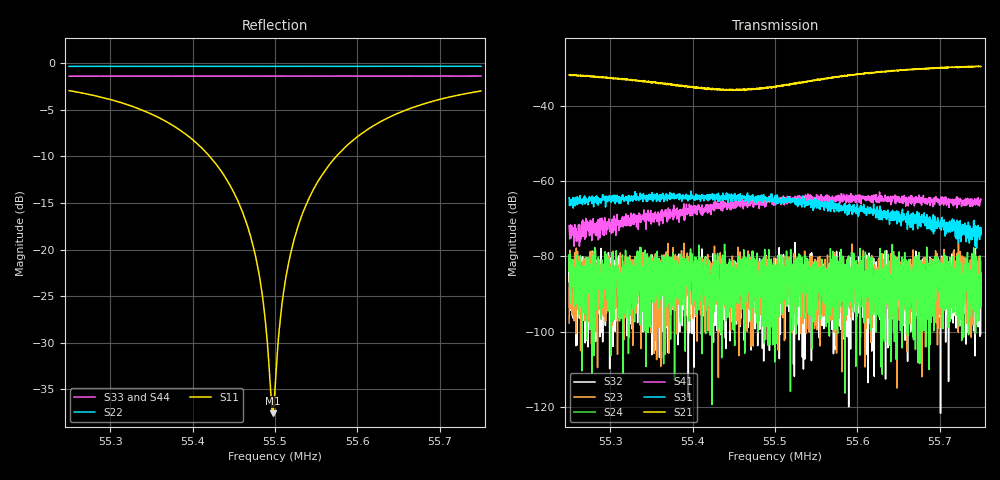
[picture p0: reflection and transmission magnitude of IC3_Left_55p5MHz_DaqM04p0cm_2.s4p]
#  HZ  S  DB  R  50.00
! Rohde & Schwarz Vector Network Analyzer
! Rohde-Schwarz,ZNB8-4Port,1311601044102961,2.82
! Created: UTC 2/13/2019, 9:14:09 AM
! freq[Hz]  db:S11  ang:S11  db:S12  ang:S12  db:S13  ang:S13  db:S14  ang:S14
!  db:S21  ang:S21  db:S22  ang:S22  db:S23  ang:S23  db:S24  ang:S24
!  db:S31  ang:S31  db:S32  ang:S32  db:S33  ang:S33  db:S34  ang:S34
!  db:S41  ang:S41  db:S42  ang:S42  db:S43  ang:S43  db:S44  ang:S44
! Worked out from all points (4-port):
!   2001 points, 55.25 MHz to 55.75 MHz, reference 50 ohm
!   strongest paths, dB at 55.25 MHz, 55.375 MHz, 55.5 MHz, 55.625 MHz, 55.75 MHz:
!     S21: -31.8, -34.6, -35.0, -31.2, -29.6
!     S31: -64.5, -63.5, -64.7, -68.0, -74.4
!     S41: -71.9, -69.2, -66.3, -64.9, -65.0
!     S24: -79.6, -93.2, -94.0, -83.7, -86.6
!     S23: -97.7, -81.7, -88.7, -85.5, -87.3
!     S32: -86.7, -92.9, -86.9, -85.5, -84.5
!   lowest |S11| = -37.6 dB at 55.497 MHz (marker M1), VSWR 1.03, Z = 50.6 + j1.2 ohm
!   |S11| at or under -10 dB: 55.42065 MHz to 55.57445 MHz (153.8 kHz wide, 0.277 % of centre)
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5.525e7  -2.94 -149.0  -31.68 69.4  -64.91 -160.3  -73.10 -5.9
         -31.82 69.2  -0.34 94.1  -97.73 -176.3  -79.64 112.5
         -64.46 -161.3  -86.73 -172.2  -1.39 34.9  -85.57 123.6
         -71.88 -6.4  -80.78 110.0  -90.80 12.5  -1.38 28.5
5.54375e7  -11.96 163.7  -35.63 81.5  -63.93 166.1  -65.79 -40.9
           -35.79 81.1  -0.33 90.7  -80.84 -55.8  -87.97 -10.1
           -64.43 166.7  -96.59 10.4  -1.39 32.7  -85.63 55.5
           -66.86 -44.2  -91.85 62.6  -88.40 -78.7  -1.38 26.2
5.54765e7  -20.78 145.7  -35.40 92.3  -64.92 156.9  -66.09 -63.5
           -35.62 92.7  -0.34 90.0  -87.28 -10.0  -87.18 -154.5
           -64.66 151.6  -85.51 -91.3  -1.38 32.2  -81.98 149.4
           -65.47 -50.9  -89.52 152.4  -82.91 10.8  -1.37 25.7
5.5497e7  -37.58 63.6  -35.05 96.9  -64.28 146.6  -64.54 -59.9
          -35.10 97.0  -0.34 89.6  -90.74 -36.5  -86.90 141.9
          -64.47 148.8  -86.52 -118.9  -1.38 31.9  -82.11 51.2
          -65.78 -60.1  -89.16 120.2  -84.11 -79.1  -1.37 25.4
5.5518e7  -20.83 -31.0  -34.31 100.0  -65.73 147.0  -64.93 -63.0
          -34.24 100.2  -0.33 89.2  -87.48 -130.5  -81.63 138.3
          -65.65 145.9  -93.74 33.9  -1.38 31.7  -85.00 -95.9
          -65.31 -67.2  -78.95 -151.7  -84.46 -73.6  -1.37 25.2
5.555725e7  -11.98 -48.8  -32.99 101.9  -65.99 130.5  -66.02 -77.3
            -32.83 101.9  -0.33 88.5  -95.46 -46.1  -85.72 -165.6
            -66.31 129.3  -98.37 75.3  -1.38 31.2  -92.21 36.8
            -64.99 -74.3  -88.04 -128.4  -90.54 30.3  -1.37 24.7
5.575e7  -2.98 -96.9  -29.48 87.6  -72.35 95.3  -64.48 -107.9
         -29.59 87.0  -0.33 85.0  -87.28 -143.5  -86.57 75.6
         -74.37 121.3  -84.49 122.2  -1.37 28.9  -86.97 -72.4
         -65.01 -107.4  -90.17 -58.0  -87.84 -23.7  -1.37 22.4
